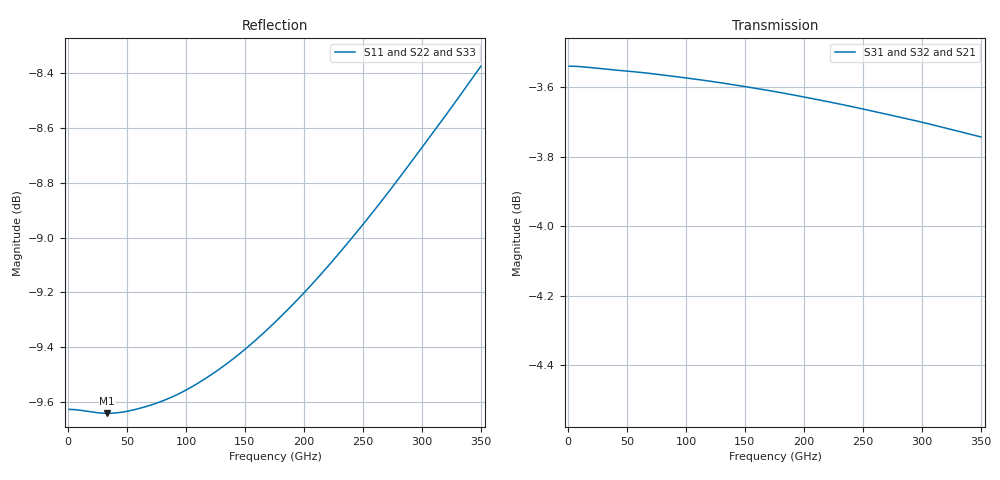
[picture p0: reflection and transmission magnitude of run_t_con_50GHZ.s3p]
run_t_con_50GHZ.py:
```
import os
import sys
sys.path.insert(0, os.path.abspath(os.path.join(os.path.dirname(__file__), 'modules')))

import modules.util_stackup_reader as stackup_reader
import modules.util_gds_reader as gds_reader
import modules.util_utilities as utilities
import modules.util_simulation_setup as simulation_setup
import modules.util_meshlines as util_meshlines

import os
from pylab import *
from CSXCAD import ContinuousStructure
from CSXCAD import AppCSXCAD_BIN
from openEMS import openEMS
from openEMS.physical_constants import *

# Model comments


# ======================== workflow settings ================================

# preview model/mesh only?
# postprocess existing data without re-running simulation?
preview_only = False
postprocess_only = False

# ===================== input files and path settings =======================

# GDS filename
gds_filename = "../layout_gds/t_connector.gds"      # geometries
XML_filename = "SG13G2.xml"       # stackup

# preprocess GDSII for safe handling of cutouts/holes?
preprocess_gds = False

# merge polygons with distance less than xxx um, or set to 0 to disable via array merging
merge_polygon_size = 0.5

# get path for this simulation file
script_path = utilities.get_script_path(__file__)

# use script filename as model basename
model_basename = utilities.get_basename(__file__)

# set and create directory for simulation output
sim_path = utilities.create_sim_path (script_path,model_basename)
print('Simulation data directory: ', sim_path)


# ======================== simulation settings ================================

unit   = 1e-6   # geometry is in microns
margin = 50    # distance in microns from GDSII geometry boundary to simulation boundary 

fstart = 0
fstop  = 350e9
numfreq = 401

refined_cellsize = 0.2  # mesh cell size in conductor region

# choices for boundary xmin,xmax,ymin,ymax,zmin,zmax: 
# 'PEC' : perfect electric conductor (default)
# 'PMC' : perfect magnetic conductor, useful for symmetries
# 'MUR' : simple MUR absorbing boundary conditions
# 'PML_8' : PML absorbing boundary conditions
Boundaries = ['PEC', 'PEC', 'PEC', 'PEC', 'PEC', 'PEC']

cells_per_wavelength = 20   # how many mesh cells per wavelength, must be 10 or more
energy_limit = -50          # end criteria for residual energy (dB)

# ports from GDSII Data, polygon geometry from specified special layer
# note that for multiport simulation, excitations are switched on/off in simulation_setup.createSimulation below
simulation_ports = simulation_setup.all_simulation_ports()
# instead of in-plane port specified with target_layername, we here use via port specified with from_layername and to_layername. GND means bottom of simulation box
simulation_ports.add_port(simulation_setup.simulation_port(portnumber=1, voltage=1, port_Z0=50, source_layernum=201, from_layername='Metal3', to_layername='TopMetal2', direction='z'))
simulation_ports.add_port(simulation_setup.simulation_port(portnumber=2, voltage=1, port_Z0=50, source_layernum=202, from_layername='Metal3', to_layername='TopMetal2', direction='z'))
simulation_ports.add_port(simulation_setup.simulation_port(portnumber=3, voltage=1, port_Z0=50, source_layernum=203, from_layername='Metal3', to_layername='TopMetal2', direction='z'))


# ======================== simulation ================================

# get technology stackup data
materials_list, dielectrics_list, metals_list = stackup_reader.read_substrate (XML_filename)
# get list of layers from technology
layernumbers = metals_list.getlayernumbers()
layernumbers.extend(simulation_ports.portlayers)

# read geometries from GDSII, only purpose 0
allpolygons = gds_reader.read_gds(gds_filename, layernumbers, purposelist=[0], metals_list=metals_list, preprocess=preprocess_gds, merge_polygon_size=merge_polygon_size)


# calculate maximum cellsize from wavelength in dielectric
wavelength_air = 3e8/fstop
max_cellsize = (wavelength_air/unit)/(sqrt(materials_list.eps_max)*cells_per_wavelength) 


########### create model, run and post-process ###########




FDTD = openEMS(EndCriteria=exp(energy_limit/10 * log(10)))
FDTD.SetGaussExcite( (fstart+fstop)/2, (fstop-fstart)/2 )
FDTD.SetBoundaryCond( Boundaries )

excite_ports_list = [[1],[2],[3]]  # list of ports that are excited in the different excitation runs
for excite_ports in excite_ports_list:
    # define excitation and stop criteria and boundaries
    FDTD = simulation_setup.setupSimulation (excite_ports, simulation_ports, FDTD, materials_list, dielectrics_list, metals_list, allpolygons, max_cellsize, refined_cellsize, margin, unit, xy_mesh_function=util_meshlines.create_xy_mesh_from_polygons)
    simulation_setup.runSimulation (excite_ports, FDTD, sim_path, model_basename, preview_only, postprocess_only)



if preview_only==False:

    print('Begin data evaluation')

    # define dB function for S-parameters
    def dB(value):
        return 20.0*np.log10(np.abs(value))        

    # define phase function for S-parameters
    def phase(value):
        return angle(value, deg=True) 

    f = np.linspace(fstart,fstop,numfreq)

    # get results, CSX port definition is read from simulation ports object
    # all S-parameter data is available because we have simulated all port excitations
    s11 = utilities.calculate_Sij (1, 1, f, sim_path, simulation_ports)
    s21 = utilities.calculate_Sij (2, 1, f, sim_path, simulation_ports)
    s31 = utilities.calculate_Sij (3, 1, f, sim_path, simulation_ports)
    s12 = utilities.calculate_Sij (1, 2, f, sim_path, simulation_ports)
    s22 = utilities.calculate_Sij (2, 2, f, sim_path, simulation_ports)
    s32 = utilities.calculate_Sij (3, 2, f, sim_path, simulation_ports)
    s13 = utilities.calculate_Sij (1, 3, f, sim_path, simulation_ports)
    s23 = utilities.calculate_Sij (2, 3, f, sim_path, simulation_ports)
    s33 = utilities.calculate_Sij (3, 3, f, sim_path, simulation_ports)


    s3p_name = os.path.join(sim_path, model_basename + '.s3p')
    utilities.write_snp (np.array([[s11,s21,s31], [s12,s22,s32], [s13,s23,s33]]),f, s3p_name)

    print('\nStarting plots')

    figure()
    plot(f/1e9, dB(s21), 'k-',  linewidth=2, label='S11 [dB]')
    grid()
    legend()
    xlabel('Frequency (GHz)')

    figure()
    plot(f/1e9, phase(s21), 'k-',  linewidth=2, label='S11 phase [degree]')
    grid()
    legend()
    xlabel('Frequency (GHz)')


    # Show all plots
    show()
```
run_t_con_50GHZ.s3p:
#  Hz  S  RI  R  50
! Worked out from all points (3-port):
!   400 points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, 875 MHz to 350 GHz, reference 50 ohm
!   strongest paths, dB at 875 MHz, 88.38 GHz, 175.9 GHz, 263.4 GHz, 350 GHz:
!     S31: -3.5, -3.6, -3.6, -3.7, -3.7
!     S32: -3.5, -3.6, -3.6, -3.7, -3.7
!     S21: -3.5, -3.6, -3.7, -3.8, -3.9
!   lowest |S11| = -9.6 dB at 33.25 GHz (marker M1), VSWR 1.98, Z = 25.3 + j2.13 ohm
!   |S11| at or under -10 dB: nowhere
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8.75e8  -0.3301 0.00102  0.6647 -0.000868  0.6653 -0.000708
        0.6647 -0.000868  -0.3301 0.00102  0.6653 -0.000708
        0.6653 -0.000709  0.6653 -0.000709  -0.3307 0.000861
3.325e10  -0.3274 0.0376  0.6629 -0.0321  0.6641 -0.0263
          0.6629 -0.0321  -0.3274 0.0376  0.6641 -0.0263
          0.6641 -0.0263  0.6641 -0.0263  -0.3286 0.0318
1.0675e11  -0.3129 0.1153  0.6528 -0.1  0.6574 -0.0823
           0.6528 -0.1  -0.3128 0.1154  0.6574 -0.0824
           0.6574 -0.0823  0.6574 -0.0823  -0.3176 0.0977
1.82e11  -0.2864 0.1896  0.6338 -0.166  0.645 -0.1378
         0.6338 -0.166  -0.2864 0.1898  0.645 -0.1378
         0.6449 -0.1377  0.6449 -0.1378  -0.2978 0.1614
3.5e11  -0.1933 0.3287  0.5658 -0.2957  0.5992 -0.2521
        0.5658 -0.2957  -0.1931 0.3289  0.5991 -0.2522
        0.5991 -0.2519  0.599 -0.252  -0.2273 0.2852
